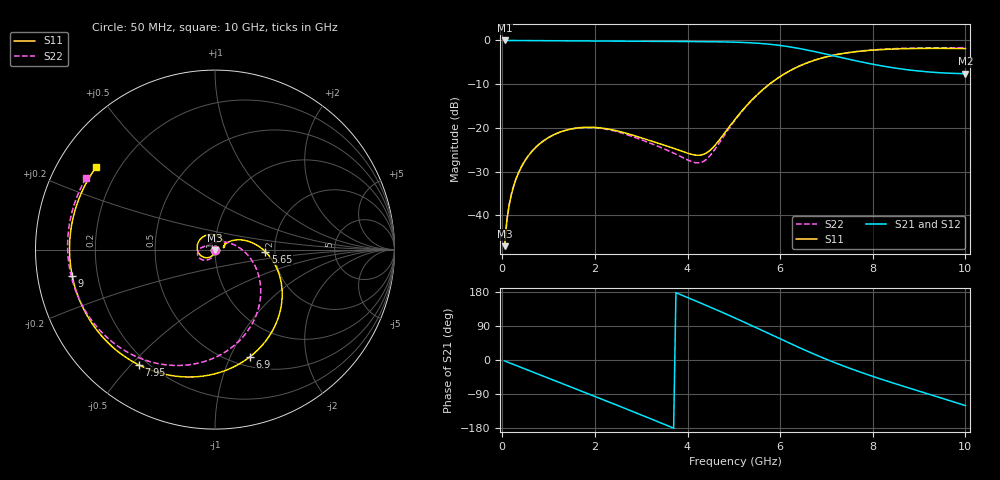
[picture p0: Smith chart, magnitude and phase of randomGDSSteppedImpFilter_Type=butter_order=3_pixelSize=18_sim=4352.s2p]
! freq	dB(S11)	phase(S11)	dB(S12)	phase(S12)
!  dB(S21)	phase(S21)	dB(S22)	phase(S22)
!S-par simulation data
#  GHz  S  DB  R 50
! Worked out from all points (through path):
!   200 points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, 50 MHz to 10 GHz, reference 50 ohm
!   highest |S21| = -0.02 dB at 50 MHz (marker M1); lowest = -7.6 dB at 10 GHz (marker M2)
!   group delay of S21, straight-line fit = 138 ps
!   lowest |S11| = -47.0 dB at 50 MHz (marker M3), VSWR 1.01, Z = 50 - j0.444 ohm
!   |S11| at or under -10 dB: start of sweep to 5.77 GHz
!   |S22| runs from -47.0 to -1.7 dB; largest |S21 - S12| = 0
!   S11 on the Smith chart (normalised r, x): 50 MHz: 1.00, -0.01; 5.65 GHz: 1.78, -0.04; 6.9 GHz: 0.60, -1.19; 7.95 GHz: 0.17, -0.53; 9 GHz: 0.11, -0.09; 10 GHz: 0.12, +0.31
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0.05  -47.04 -92.1  -0.02 -2.5  -0.02 -2.5  -47.01 -91.2
0.1  -41.03 -95.3  -0.02 -4.9  -0.02 -4.9  -41.00 -93.7
0.2  -35.04 -101.3  -0.03 -9.7  -0.03 -9.7  -35.02 -98.1
0.5  -27.33 -118.6  -0.04 -24.2  -0.04 -24.2  -27.31 -110.5
1.15  -21.38 -156.4  -0.10 -55.4  -0.10 -55.4  -21.39 -136.2
1.75  -19.88 167.0  -0.14 -84.2  -0.14 -84.2  -19.94 -157.8
2.5  -20.73 115.8  -0.18 -120.4  -0.18 -120.4  -20.93 -179.5
2.95  -22.10 80.7  -0.20 -142.5  -0.20 -142.5  -22.50 171.3
3.4  -23.62 44.8  -0.22 -164.8  -0.22 -164.8  -24.38 162.9
3.85  -25.23 17.5  -0.26 172.6  -0.26 172.6  -26.53 145.2
4.3  -26.19 16.3  -0.29 149.5  -0.29 149.5  -27.87 94.9
5.05  -17.72 24.5  -0.42 109.5  -0.42 109.5  -17.90 7.5
5.65  -11.03 -2.3  -0.76 75.8  -0.76 75.8  -11.08 -30.0
6.2  -7.00 -33.1  -1.47 44.5  -1.47 44.5  -7.01 -60.5
6.7  -4.68 -61.2  -2.46 17.2  -2.46 17.2  -4.68 -86.3
6.9  -4.04 -72.0  -2.92 6.8  -2.92 6.8  -4.03 -96.0
7.4  -2.93 -97.6  -4.12 -17.3  -4.12 -17.3  -2.90 -118.4
7.95  -2.27 -123.5  -5.35 -41.2  -5.35 -41.2  -2.22 -140.3
8.35  -2.02 -141.3  -6.11 -57.3  -6.11 -57.3  -1.95 -154.9
9  -1.84 -169.4  -7.02 -82.2  -7.02 -82.2  -1.73 -176.8
9.5  -1.83 168.5  -7.43 -101.0  -7.43 -101.0  -1.68 167.0
10  -1.87 145.3  -7.61 -120.3  -7.61 -120.3  -1.71 150.9
